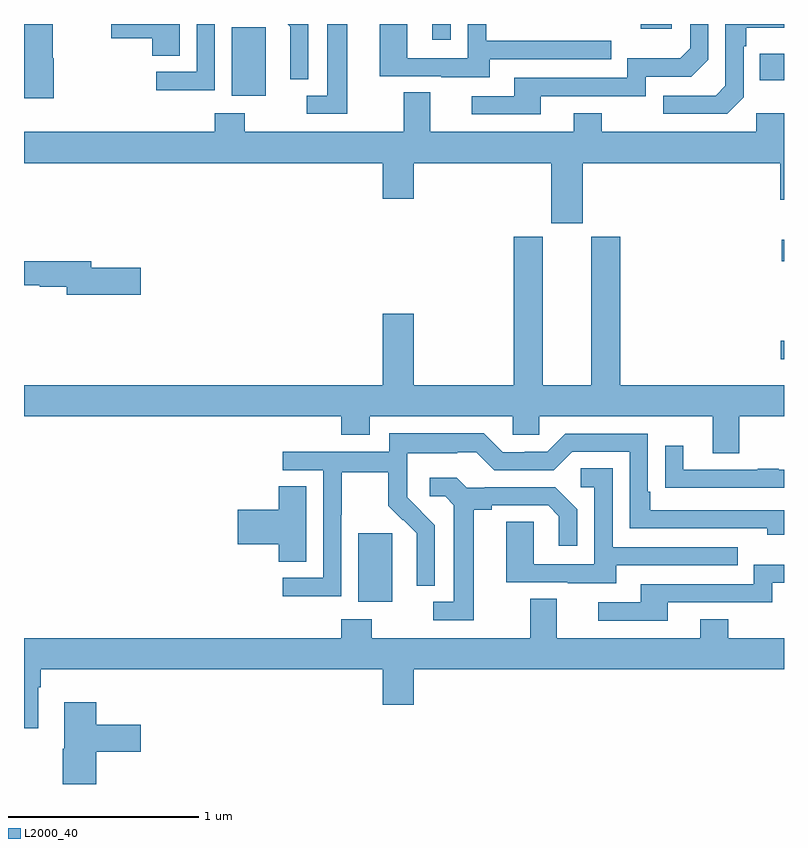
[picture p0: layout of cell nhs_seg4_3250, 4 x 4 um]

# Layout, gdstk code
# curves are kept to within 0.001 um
import gdstk
lib = gdstk.Library(unit=1e-6, precision=1e-09)
def R(c, l, rs):  # rectangles x0, y0, x1, y1
    for r in rs: c.add(gdstk.rectangle(r[:2], r[2:], *l))
def P(c, l, *ps):  # polygons
    for p in ps: c.add(gdstk.Polygon(p, *l))
L2000_40 = (2000, 40)

nhs_seg4_3250 = lib.new_cell('nhs_seg4_3250')
R(nhs_seg4_3250, L2000_40, [(284.759,779.858,284.938,780.219), (286.983,781.136,287,781.233), (286.988,781.652,287,781.765), (284.093,782.522,284.272,782.883), (286.873,782.603,287,782.743), (285.149,782.817,285.246,782.9), (286.247,782.876,286.408,782.9)])
P(nhs_seg4_3250, L2000_40, [(285.451,782.715),(286.091,782.715),(286.091,782.811),(285.432,782.811),(285.432,782.9),(285.336,782.9),(285.336,782.721),(285.018,782.721),(285.018,782.9),(284.873,782.9),(284.873,782.625),(285.197,782.625),(285.197,782.621),(285.451,782.621)],
  [(284.701,782.9),(284.597,782.9),(284.597,782.523),(284.487,782.523),(284.487,782.427),(284.701,782.427)],
  [(283.819,782.9),(283.458,782.9),(283.458,782.825),(283.676,782.825),(283.676,782.734),(283.819,782.734)],
  [(283.157,782.72),(283.152,782.72),(283.152,782.9),(283,782.9),(283,782.508),(283.157,782.508)],
  [(285.721,782.52),(286.272,782.52),(286.272,782.622),(286.512,782.622),(286.602,782.712),(286.602,782.9),(286.506,782.9),(286.506,782.772),(286.453,782.719),(286.176,782.719),(286.176,782.616),(285.581,782.616),(285.581,782.52),(285.357,782.52),(285.357,782.424),(285.721,782.424)],
  [(286.788,782.514),(286.788,782.783),(286.801,782.783),(286.801,782.879),(287,782.879),(287,782.9),(286.692,782.9),(286.692,782.574),(286.641,782.523),(286.365,782.523),(286.365,782.427),(286.701,782.427)],
  [(284.496,782.9),(284.387,782.9),(284.402,782.885),(284.402,782.762),(284.4,782.762),(284.4,782.608),(284.496,782.608)],
  [(284.004,782.9),(283.908,782.9),(283.908,782.649),(283.695,782.649),(283.695,782.551),(284.004,782.551)],
  [(285.94,782.168),(286.979,782.168),(286.979,781.974),(287,781.974),(287,782.431),(286.854,782.431),(286.854,782.332),(286.041,782.332),(286.041,782.431),(285.893,782.431),(285.893,782.332),(285.139,782.332),(285.139,782.54),(284.999,782.54),(284.999,782.332),(284.163,782.332),(284.163,782.431),(284.003,782.431),(284.003,782.332),(283,782.332),(283,782.168),(284.888,782.168),(284.888,781.98),(285.052,781.98),(285.052,782.168),(285.776,782.168),(285.776,781.851),(285.94,781.851)],
  [(286.765,780.836),(287,780.836),(287,781),(286.139,781),(286.139,781.779),(285.986,781.779),(285.986,781),(285.73,781),(285.73,781.779),(285.578,781.779),(285.578,781),(285.052,781),(285.052,781.375),(284.888,781.375),(284.888,781),(283,781),(283,780.836),(284.669,780.836),(284.669,780.737),(284.821,780.737),(284.821,780.836),(285.573,780.836),(285.573,780.738),(285.711,780.738),(285.711,780.836),(286.625,780.836),(286.625,780.642),(286.765,780.642)],
  [(283.615,781.616),(283.354,781.616),(283.354,781.652),(283,781.652),(283,781.524),(283.083,781.524),(283.083,781.516),(283.226,781.516),(283.226,781.474),(283.615,781.474)],
  [(284.67,780.316),(284.673,780.316),(284.673,780.54),(284.917,780.54),(284.917,780.365),(284.994,780.288),(284.997,780.291),(285.068,780.221),(285.068,780.098),(285.066,780.098),(285.066,779.944),(285.162,779.944),(285.162,780.262),(285.016,780.41),(285.016,780.507),(285.018,780.507),(285.018,780.641),(285.281,780.641),(285.281,780.645),(285.381,780.645),(285.474,780.552),(285.789,780.552),(285.885,780.648),(286.188,780.648),(286.188,780.246),(286.913,780.246),(286.913,780.212),(287,780.212),(287,780.342),(286.297,780.342),(286.297,780.439),(286.284,780.439),(286.284,780.744),(285.849,780.744),(285.753,780.648),(285.635,780.648),(285.635,780.645),(285.519,780.645),(285.419,780.745),(284.922,780.745),(284.922,780.648),(284.361,780.648),(284.361,780.552),(284.574,780.552),(284.574,779.985),(284.361,779.985),(284.361,779.887),(284.67,779.887)],
  [(287,780.555),(286.973,780.555),(286.973,780.56),(286.861,780.56),(286.861,780.555),(286.471,780.555),(286.471,780.679),(286.375,780.679),(286.375,780.46),(286.477,780.46),(286.477,780.459),(287,780.459)],
  [(286.117,780.051),(286.757,780.051),(286.757,780.147),(286.098,780.147),(286.098,780.563),(285.93,780.563),(285.93,780.462),(286.002,780.462),(286.002,780.057),(285.684,780.057),(285.684,780.281),(285.539,780.281),(285.539,779.961),(285.863,779.961),(285.863,779.957),(286.117,779.957)],
  [(285.367,780.344),(285.463,780.344),(285.463,780.366),(285.758,780.366),(285.815,780.309),(285.815,780.153),(285.912,780.153),(285.912,780.346),(285.796,780.462),(285.424,780.462),(285.424,780.459),(285.33,780.459),(285.278,780.511),(285.135,780.511),(285.135,780.414),(285.216,780.414),(285.263,780.367),(285.263,779.859),(285.153,779.859),(285.153,779.763),(285.367,779.763)],
  [(284.485,780.467),(284.342,780.467),(284.342,780.344),(284.124,780.344),(284.124,780.161),(284.342,780.161),(284.342,780.07),(284.485,780.07)],
  [(286.387,779.856),(286.938,779.856),(286.938,779.958),(287,779.958),(287,780.055),(286.842,780.055),(286.842,779.952),(286.247,779.952),(286.247,779.856),(286.023,779.856),(286.023,779.76),(286.387,779.76)],
  [(283.075,779.408),(283.088,779.408),(283.088,779.504),(284.888,779.504),(284.888,779.316),(285.052,779.316),(285.052,779.504),(287,779.504),(287,779.668),(286.707,779.668),(286.707,779.767),(286.559,779.767),(286.559,779.668),(285.805,779.668),(285.805,779.876),(285.665,779.876),(285.665,779.668),(284.829,779.668),(284.829,779.767),(284.669,779.767),(284.669,779.668),(283,779.668),(283,779.193),(283.075,779.193)],
  [(283.379,779.069),(283.615,779.069),(283.615,779.211),(283.379,779.211),(283.379,779.329),(283.211,779.329),(283.211,779.085),(283.204,779.085),(283.204,778.9),(283.379,778.9)])

lib.write_gds('nhs_seg4_3250.gds')
